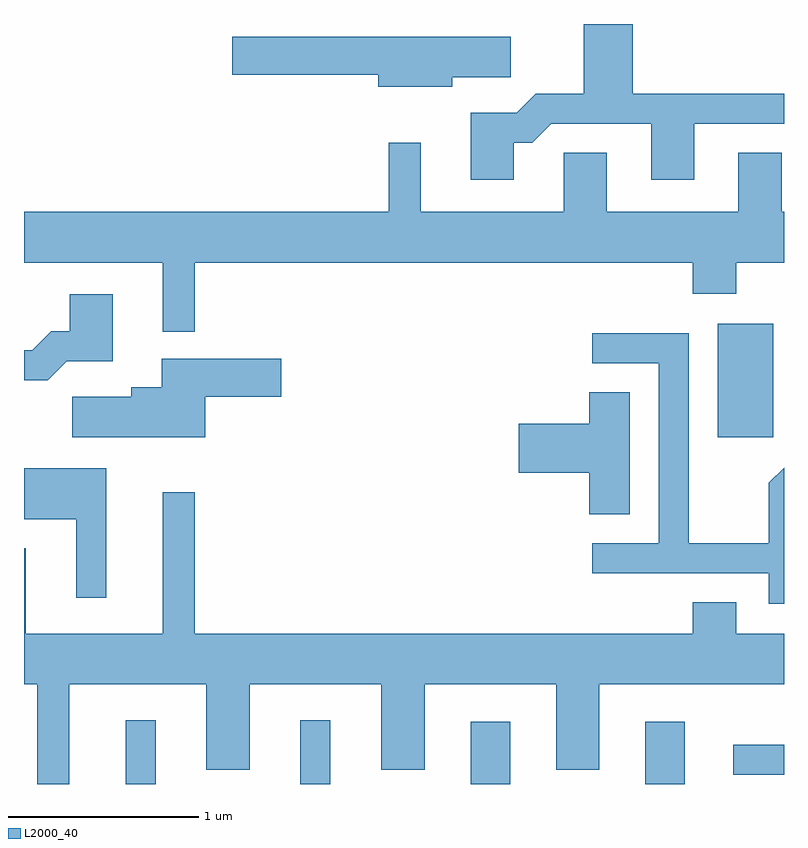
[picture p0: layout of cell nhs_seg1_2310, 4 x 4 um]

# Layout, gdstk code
import gdstk
lib = gdstk.Library(unit=1e-6, precision=1e-09)
def R(c, l, rs):  # rectangles x0, y0, x1, y1
    for r in rs: c.add(gdstk.rectangle(r[:2], r[2:], *l))
def P(c, l, *ps):  # polygons
    for p in ps: c.add(gdstk.Polygon(p, *l))
L2000_40 = (2000, 40)

nhs_seg1_2310 = lib.new_cell('nhs_seg1_2310')
R(nhs_seg1_2310, L2000_40, [(256.146,905.712,256.304,906.048), (257.066,905.712,257.224,906.048), (257.961,905.712,258.169,906.039), (258.881,905.712,259.089,906.039), (259.343,905.761,259.611,905.919), (259.261,907.536,259.554,908.134)])
P(nhs_seg1_2310, L2000_40, [(258.189,909.086),(258.287,909.086),(258.387,909.186),(258.911,909.186),(258.911,908.891),(259.139,908.891),(259.139,909.186),(259.611,909.186),(259.611,909.344),(258.814,909.344),(258.814,909.712),(258.556,909.712),(258.556,909.344),(258.304,909.344),(258.204,909.244),(257.961,909.244),(257.961,908.891),(258.189,908.891)],
  [(257.864,909.431),(258.174,909.431),(258.174,909.644),(256.706,909.644),(256.706,909.446),(257.476,909.446),(257.476,909.381),(257.864,909.381)],
  [(256.509,908.456),(259.131,908.456),(259.131,908.291),(259.359,908.291),(259.359,908.456),(259.611,908.456),(259.611,908.724),(259.599,908.724),(259.599,909.034),(259.371,909.034),(259.371,908.724),(258.679,908.724),(258.679,909.034),(258.451,909.034),(258.451,908.724),(257.699,908.724),(257.699,909.088),(257.531,909.088),(257.531,908.724),(255.611,908.724),(255.611,908.456),(256.341,908.456),(256.341,908.093),(256.509,908.093)],
  [(255.837,907.936),(256.079,907.936),(256.079,908.289),(255.851,908.289),(255.851,908.094),(255.754,908.094),(255.654,907.994),(255.611,907.994),(255.611,907.836),(255.737,907.836)],
  [(259.611,907.377),(259.531,907.297),(259.531,906.979),(259.109,906.979),(259.109,908.084),(258.603,908.084),(258.603,907.926),(258.951,907.926),(258.951,906.979),(258.603,906.979),(258.603,906.821),(259.531,906.821),(259.531,906.661),(259.611,906.661)],
  [(256.564,907.751),(256.964,907.751),(256.964,907.949),(256.336,907.949),(256.336,907.799),(256.176,907.799),(256.176,907.749),(255.866,907.749),(255.866,907.536),(256.564,907.536)],
  [(258.799,907.774),(258.586,907.774),(258.586,907.609),(258.216,907.609),(258.216,907.351),(258.586,907.351),(258.586,907.131),(258.799,907.131)],
  [(256.044,907.374),(255.611,907.374),(255.611,907.106),(255.886,907.106),(255.886,906.693),(256.044,906.693)],
  [(255.849,906.236),(256.571,906.236),(256.571,905.786),(256.799,905.786),(256.799,906.236),(257.491,906.236),(257.491,905.786),(257.719,905.786),(257.719,906.236),(258.411,906.236),(258.411,905.786),(258.639,905.786),(258.639,906.236),(259.611,906.236),(259.611,906.504),(259.359,906.504),(259.359,906.669),(259.131,906.669),(259.131,906.504),(256.509,906.504),(256.509,907.248),(256.341,907.248),(256.341,906.504),(255.619,906.504),(255.619,906.954),(255.611,906.954),(255.611,906.236),(255.681,906.236),(255.681,905.712),(255.849,905.712)])

lib.write_gds('nhs_seg1_2310.gds')
